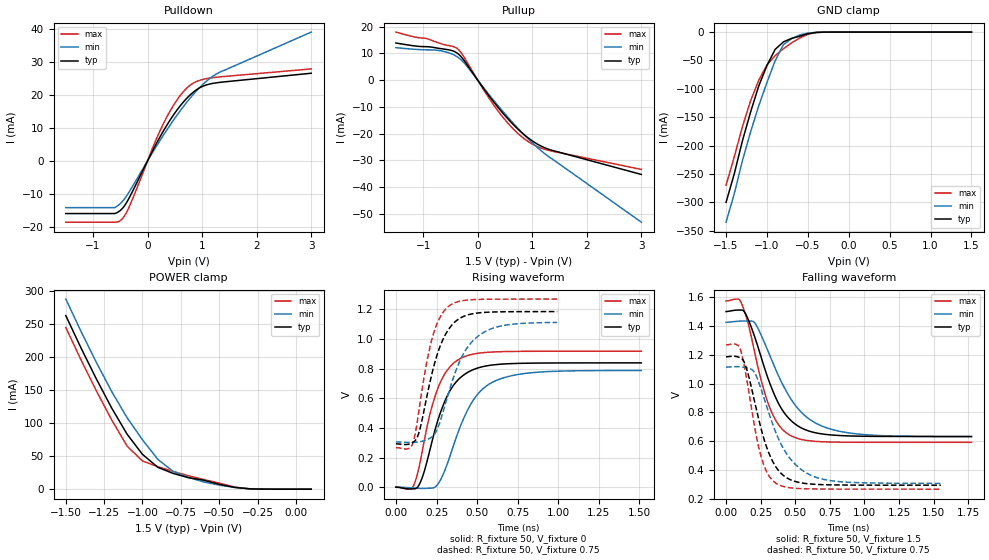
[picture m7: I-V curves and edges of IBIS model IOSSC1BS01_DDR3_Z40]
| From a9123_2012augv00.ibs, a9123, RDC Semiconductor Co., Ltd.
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[Model]   IOSSC1BS01_DDR3_Z40
|   IOSSC1BS01_DDR3_Z40  MODEL
|   DATE   :  2009/9/1 ;
|   REVISION :  0.1.1 ;
|   Model generated   Tue Sep  1 16:52:16 2009
Model_type  I/O
Polarity   Non-Inverting
Enable   Active-Low
| Signals
Vinl = 0.575
Vinh = 0.925
Vmeas = 0.750
| variable   typ   min   max
C_comp   3.3483pf   3.0180pf   4.0388pf
[Model Spec]
|   Subparameter   typ   min   max
Vinh   0.925  0.887500  0.962500
Vinl   0.575  0.537500  0.612500
Vmeas   0.750  0.712500  0.787500
[Temperature Range]   25   125   -40
|   typ   min   max
[Voltage Range]   1.5V   1.425V   1.575V
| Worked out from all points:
|   slope of the pulldown table from 0 to 0.225 V, typ, clamps not added: 31.4 ohm
|   slope of the pullup table from 0 to 0.225 V, typ, clamps not added: 35.6 ohm
|   GND clamp passes 1 mA (typ) near -0.42 V on its own axis
|   POWER clamp passes 1 mA (typ) near -0.32 V on its own axis
|   rising waveform, R_fixture 50, V_fixture 0: 20-80 % time 154ps typ, 189ps min, 134ps max; typ from 0.001 V to 0.839 V
|   falling waveform, R_fixture 50, V_fixture 1.5: 20-80 % time 208ps typ, 270ps min, 166ps max; typ from 1.5 V to 0.632 V
|   rising waveform, R_fixture 50, V_fixture 0.75: 20-80 % time 130ps typ, 166ps min, 107ps max; typ from 0.293 V to 1.18 V
|   falling waveform, R_fixture 50, V_fixture 0.75: 20-80 % time 155ps typ, 216ps min, 119ps max; typ from 1.19 V to 0.293 V
[Pulldown]
|   Voltage   I(typ)   I(min)   I(max)
-1.5V     -16.03mA   -14.23mA   -18.66mA
-600mV    -16.03mA   -14.23mA   -18.66mA
-510mV    -15.22mA   -13.13mA   -18.3mA
-450mV    -14.24mA   -12.11mA   -17.38mA
-330mV    -11.04mA   -9.256mA   -13.71mA
120mV     3.941mA    3.297mA    5.016mA
330mV     10.17mA    8.792mA    12.6mA
570mV     16.09mA    14.56mA    19.21mA
810mV     20.44mA    19.62mA    23.3mA
1.02V     22.69mA    23.29mA    24.73mA
1.29V     23.73mA    26.63mA    25.42mA
3V        26.58mA    39.08mA    27.89mA
[GND Clamp]
|   Voltage   I(typ)   I(min)   I(max)
-1.5V     -300mA     -335mA     -270mA
-1.4V     -250mA     -285mA     -220mA
-1.3V     -191.7mA   -226.7mA   -166.7mA
-1.2V     -140.9mA   -175.9mA   -120.9mA
-1.1V     -94.77mA   -129.8mA   -84.77mA
-1V       -58.82mA   -88.82mA   -57.82mA
-900mV    -30.53mA   -50.53mA   -41.53mA
-800mV    -17.35mA   -22.35mA   -29.48mA
-700mV    -11.13mA   -11.7mA    -19.21mA
-600mV    -7.283mA   -5.004mA   -10.38mA
-400mV    -644.1uA   -458uA     -833.8uA
1.5V      0A         0A         0A
[Pullup]
|   Voltage   I(typ)   I(min)   I(max)
|( VDD-Vmeas )
-1.5V     13.9mA     12.16mA    17.98mA
-940mV    12.52mA    11.36mA    15.57mA
-700mV    11.87mA    11.05mA    13.82mA
-380mV    10.17mA    8.812mA    11.91mA
-300mV    8.667mA    7.535mA    10.15mA
-220mV    6.512mA    5.771mA    7.582mA
140mV     -4.003mA   -3.657mA   -4.628mA
420mV     -11.33mA   -10.66mA   -12.77mA
700mV     -17.56mA   -17.17mA   -19.21mA
980mV     -22.4mA    -23.01mA   -23.64mA
1.34V     -26.08mA   -29.14mA   -26.43mA
3V        -35.23mA   -53.08mA   -33.35mA
[POWER Clamp]
|   Voltage   I(typ)   I(min)   I(max)
|( VDD-Vmeas )
-1.5V     262.4mA    287.4mA    244.4mA
-1.3V     166.3mA    191.3mA    148.3mA
-1.2V     122.3mA    147.3mA    104.3mA
-1.1V     82.94mA    107.9mA    64.94mA
-1V       52.6mA     74.6mA     42.6mA
-900mV    33.04mA    45.04mA    34.04mA
-800mV    23.77mA    26.77mA    26.77mA
-700mV    17.35mA    17.85mA    20.35mA
-600mV    13.5mA     10.81mA    14.5mA
-400mV    2.711mA    2.613mA    3.098mA
-300mV    444.6uA    639.1uA    369.4uA
100mV     0A         0A         0A
[Rising Waveform]
R_fixture = 50
V_fixture = 0
V_fixture_min = 0
V_fixture_max = 0
C_fixture = 0
L_fixture = 0
|   Time   V(typ)   V(min)   V(max)
0s        787uV      1.106mV    1.296mV
96ps      -11.21mV   -4.511mV   -8.492mV
144ps     18.61mV    -7.452mV   143.1mV
208ps     245.7mV    -6.427mV   486.6mV
256ps     443.3mV    17.27mV    660.5mV
320ps     624.4mV    168.9mV    794.8mV
392ps     734mV      396.8mV    865.4mV
512ps     806.8mV    638.3mV    904.2mV
664ps     831.2mV    738.1mV    914.7mV
1.512ns   838.7mV    787.6mV    917.5mV
[Falling Waveform]
R_fixture = 50
V_fixture = 1.5
V_fixture_min = 1.425
V_fixture_max = 1.575
C_fixture = 0
L_fixture = 0
|   Time   V(typ)   V(min)   V(max)
0s        1.5V       1.425V     1.574V
99ps      1.51V      1.433V     1.581V
135ps     1.495V     1.434V     1.496V
207ps     1.324V     1.422V     1.215V
261ps     1.16V      1.32V      997.4mV
324ps     982.2mV    1.177V     813.3mV
459ps     752.3mV    907.1mV    642.3mV
603ps     668.5mV    751.6mV    602mV
810ps     639.1mV    670.3mV    592.4mV
1.773ns   631.9mV    630.6mV    591.3mV
[Rising Waveform]
R_fixture = 50
V_fixture = 0.75
V_fixture_min = 0.7125
V_fixture_max = 0.7875
C_fixture = 0
L_fixture = 0
|   Time   V(typ)   V(min)   V(max)
0s        293.4mV    305.5mV    266.8mV
105ps     302.7mV    302.7mV    299.6mV
147ps     388.6mV    306.9mV    556.5mV
217ps     743.5mV    335.6mV    978.1mV
259ps     910.7mV    403.4mV    1.118V
315ps     1.049V     601.5mV    1.211V
413ps     1.15V      894.3mV    1.258V
518ps     1.177V     1.029V     1.267V
679ps     1.183V     1.094V     1.269V
994ps     1.185V     1.111V     1.269V
[Falling Waveform]
R_fixture = 50
V_fixture = 0.75
V_fixture_min = 0.7125
V_fixture_max = 0.7875
C_fixture = 0
L_fixture = 0
|   Time   V(typ)   V(min)   V(max)
0s        1.185V     1.113V     1.268V
104ps     1.177V     1.116V     1.236V
152ps     1.091V     1.108V     1.014V
200ps     900.5mV    1.085V     734.4mV
248ps     705.3mV    976.4mV    511.1mV
296ps     550.3mV    834.4mV    381.9mV
360ps     420.5mV    658.3mV    307.8mV
480ps     325.5mV    458.7mV    273.3mV
656ps     298.9mV    346.1mV    266.9mV
1.552ns   293.4mV    305.8mV    265.8mV
[Ramp]
| variables   typ   min   max
dV/dt_r   0.503285/154.237p 0.472729/189.392p 0.550518/133.971p
dV/dt_f   0.520968/207.622p 0.476886/270.438p 0.590316/165.994p
R_load   = 50.000000 | Ohms
| [End Model]
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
